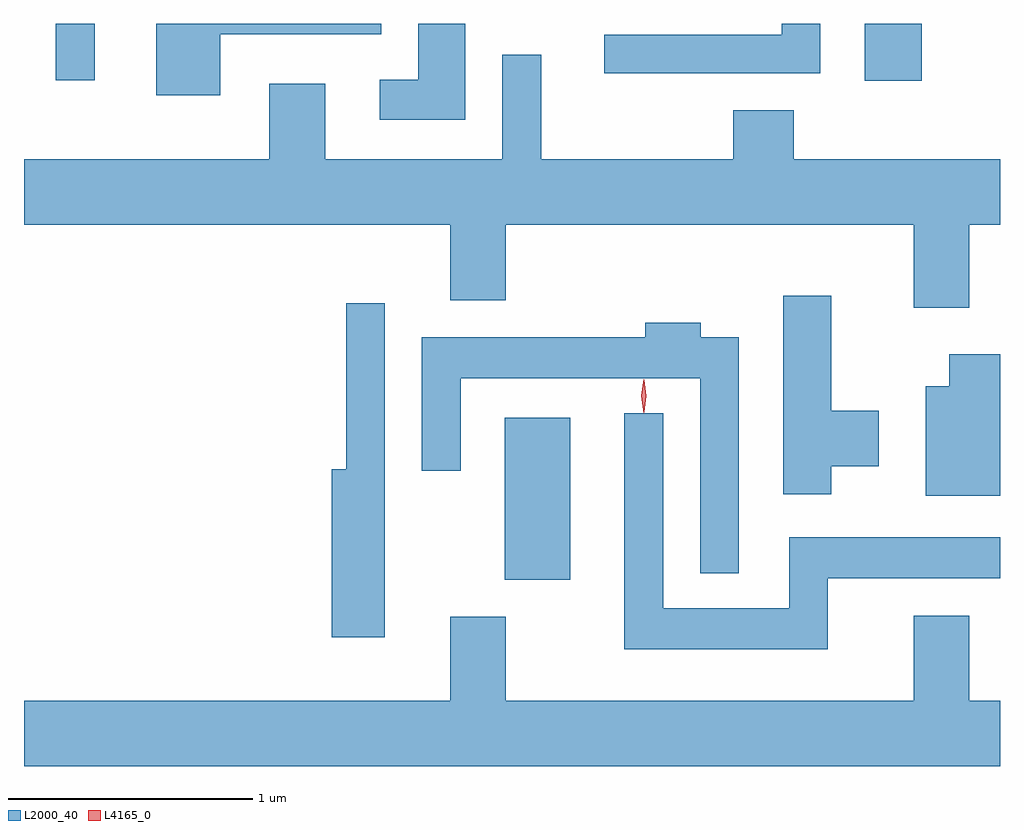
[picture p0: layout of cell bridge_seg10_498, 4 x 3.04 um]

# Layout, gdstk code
import gdstk
lib = gdstk.Library(unit=1e-6, precision=1e-09)
def R(c, l, rs):  # rectangles x0, y0, x1, y1
    for r in rs: c.add(gdstk.rectangle(r[:2], r[2:], *l))
def P(c, l, *ps):  # polygons
    for p in ps: c.add(gdstk.Polygon(p, *l))
L2000_40 = (2000, 40)
L4165_0 = (4165, 0)

bridge_seg10_498 = lib.new_cell('bridge_seg10_498')
R(bridge_seg10_498, L2000_40, [(903.466,2163.521,903.734,2164.184), (904.941,2165.566,905.174,2165.8), (901.626,2165.568,901.784,2165.8)])
P(bridge_seg10_498, L2000_40, [(904.759,2165.8),(904.601,2165.8),(904.601,2165.754),(903.873,2165.754),(903.873,2165.596),(904.759,2165.596)],
  [(902.299,2165.756),(902.959,2165.756),(902.959,2165.8),(902.036,2165.8),(902.036,2165.506),(902.299,2165.506)],
  [(903.304,2165.8),(903.111,2165.8),(903.111,2165.569),(902.953,2165.569),(902.953,2165.406),(903.304,2165.406)],
  [(905.369,2164.976),(905.495,2164.976),(905.495,2165.244),(904.649,2165.244),(904.649,2165.444),(904.401,2165.444),(904.401,2165.244),(903.614,2165.244),(903.614,2165.673),(903.456,2165.673),(903.456,2165.244),(902.729,2165.244),(902.729,2165.554),(902.501,2165.554),(902.501,2165.244),(901.495,2165.244),(901.495,2164.976),(903.241,2164.976),(903.241,2164.666),(903.469,2164.666),(903.469,2164.976),(905.141,2164.976),(905.141,2164.636),(905.369,2164.636)],
  [(904.804,2163.986),(904.999,2163.986),(904.999,2164.214),(904.804,2164.214),(904.804,2164.684),(904.606,2164.684),(904.606,2163.871),(904.804,2163.871)],
  [(902.974,2164.653),(902.816,2164.653),(902.816,2163.974),(902.756,2163.974),(902.756,2163.286),(902.974,2163.286)],
  [(904.424,2164.514),(904.269,2164.514),(904.269,2164.574),(904.041,2164.574),(904.041,2164.514),(903.126,2164.514),(903.126,2163.968),(903.284,2163.968),(903.284,2164.346),(904.266,2164.346),(904.266,2163.548),(904.424,2163.548)],
  [(905.495,2164.444),(905.286,2164.444),(905.286,2164.314),(905.191,2164.314),(905.191,2163.866),(905.495,2163.866)],
  [(904.789,2163.526),(905.495,2163.526),(905.495,2163.694),(904.631,2163.694),(904.631,2163.404),(904.114,2163.404),(904.114,2164.203),(903.956,2164.203),(903.956,2163.236),(904.789,2163.236)],
  [(905.495,2163.024),(905.369,2163.024),(905.369,2163.374),(905.141,2163.374),(905.141,2163.024),(903.469,2163.024),(903.469,2163.369),(903.241,2163.369),(903.241,2163.024),(901.495,2163.024),(901.495,2162.756),(905.495,2162.756)])
P(bridge_seg10_498, L4165_0, [(904.034,2164.204),(904.025,2164.274),(904.034,2164.342),(904.035,2164.343),(904.035,2164.342),(904.045,2164.274),(904.035,2164.204),(904.035,2164.204)],
  [(904.034,2164.207),(904.025,2164.274),(904.034,2164.34),(904.035,2164.34),(904.036,2164.34),(904.045,2164.274),(904.036,2164.207),(904.035,2164.207)])

lib.write_gds('bridge_seg10_498.gds')
